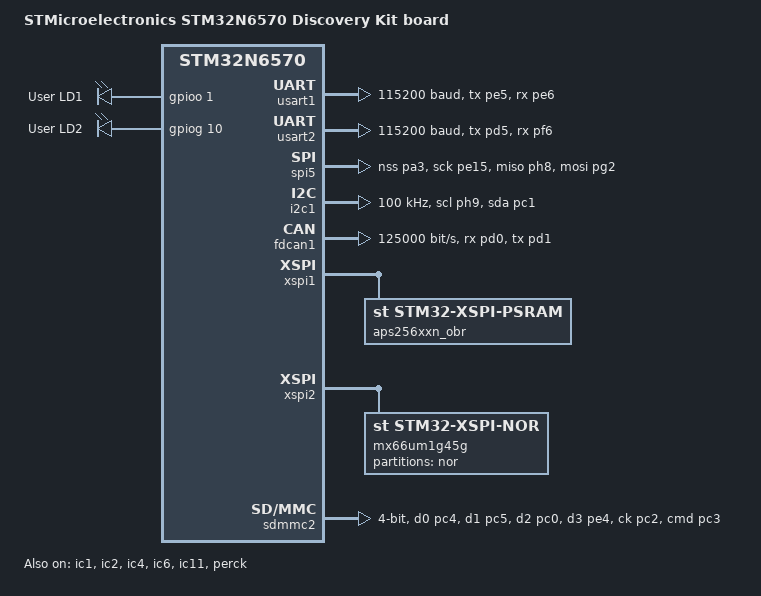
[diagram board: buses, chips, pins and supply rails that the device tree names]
/*
 * Copyright (c) 2024 STMicroelectronics
 *
 * SPDX-License-Identifier: Apache-2.0
 */

#include "arduino_r3_connector.dtsi"
#include <zephyr/dt-bindings/input/input-event-codes.h>
#include <zephyr/dt-bindings/flash_controller/xspi.h>

/ {
	model = "STMicroelectronics STM32N6570 Discovery Kit board";
	compatible = "st,stm32n6570-dk";

	#address-cells = <1>;
	#size-cells = <1>;

	chosen {
		zephyr,console = &usart1;
		zephyr,shell-uart = &usart1;
		zephyr,sram = &axisram2;
		zephyr,canbus = &fdcan1;
	};

	aliases {
		led0 = &green_led_1;
		ext-ram0 = &aps256xxn_obr;
		spi-flash0 = &mx66um1g45g;
	};

	leds: leds {
		compatible = "gpio-leds";
		green_led_1: led_1 {
			gpios = <&gpioo 1 GPIO_ACTIVE_HIGH>;
			label = "User LD1";
		};
		red_led_1: led_2 {
			gpios = <&gpiog 10 GPIO_ACTIVE_HIGH>;
			label = "User LD2";
		};
	};

};

&clk_hsi {
	hsi-div = <1>;
	status = "okay";
};

&pll1 {
	clocks = <&clk_hsi>;
	div-m = <4>;
	mul-n = <75>;
	div-p1 = <1>;
	div-p2 = <1>;
	status = "okay";
};

&pll2 {
	clocks = <&clk_hsi>;
	div-m = <4>;
	mul-n = <24>;
	div-p1 = <2>;
	div-p2 = <2>;
	status = "okay";
};

&ic1 {
	pll-src = <1>;
	ic-div = <2>;
	status = "okay";
};

&ic2 {
	pll-src = <1>;
	ic-div = <3>;
	status = "okay";
};

&ic4 {
	pll-src = <2>;
	ic-div = <2>;
	status = "okay";
};

&ic6 {
	pll-src = <1>;
	ic-div = <2>;
	status = "okay";
};

&ic11 {
	pll-src = <1>;
	ic-div = <3>;
	status = "okay";
};

&perck {
	clocks = <&rcc STM32_SRC_HSI PER_SEL(0)>;
	status = "okay";
};

&cpusw {
	clocks = <&rcc STM32_SRC_IC1 CPU_SEL(3)>;
	status = "okay";
};

&rcc {
	/* ic2, ic6 & ic11 must all be enabled to set ic2 as SYSCLK */
	clocks = <&ic2>;
	clock-frequency = <DT_FREQ_M(400)>;
	ahb-prescaler = <2>;
	apb1-prescaler = <1>;
	apb2-prescaler = <1>;
	apb4-prescaler = <1>;
	apb5-prescaler = <1>;
};

&usart1 {
	clocks = <&rcc STM32_CLOCK_BUS_APB2 0x00000010>,
		 <&rcc STM32_SRC_CKPER USART1_SEL(1)>;
	pinctrl-0 = <&usart1_tx_pe5 &usart1_rx_pe6>;
	pinctrl-names = "default";
	current-speed = <115200>;
	status = "okay";
};

&usart2 {
	clocks = <&rcc STM32_CLOCK_BUS_APB1 0x00020000>,
		 <&rcc STM32_SRC_CKPER USART2_SEL(1)>;
	pinctrl-0 = <&usart2_tx_pd5 &usart2_rx_pf6>;
	pinctrl-names = "default";
	current-speed = <115200>;
	status = "okay";
};

&spi5 {
	clocks = <&rcc STM32_CLOCK_BUS_APB2 0x00100000>,
		 <&rcc STM32_SRC_CKPER SPI5_SEL(1)>;
	pinctrl-0 = <&spi5_nss_pa3 &spi5_sck_pe15 &spi5_miso_ph8 &spi5_mosi_pg2>;
	pinctrl-names = "default";
	status = "okay";
};

&i2c1 {
	clocks = <&rcc STM32_CLOCK_BUS_APB1 0x00200000>,
		 <&rcc STM32_SRC_CKPER I2C1_SEL(1)>;
	pinctrl-0 = <&i2c1_scl_ph9 &i2c1_sda_pc1>;
	pinctrl-names = "default";
	clock-frequency = <I2C_BITRATE_STANDARD>;
	status = "okay";
};

&fdcan1 {
	clocks = <&rcc STM32_CLOCK_BUS_APB1_2 0x00000100>,
		 <&rcc STM32_SRC_CKPER FDCAN_SEL(1)>;
	pinctrl-0 = <&fdcan1_rx_pd0 &fdcan1_tx_pd1>;
	pinctrl-names = "default";
	bus-speed = <125000>;
	bus-speed-data = <1000000>;
	status = "okay";
};

&xspi1 {
	clocks = <&rcc STM32_CLOCK_BUS_AHB5 0x00000020>,
		 <&rcc STM32_SRC_CKPER XSPI1_SEL(1)>,
		 <&rcc STM32_CLOCK_BUS_AHB5 0x00002000>;
	pinctrl-0 = <&xspim_p1_ncs1_po0 &xspim_p1_dqs0_po2
		     &xspim_p1_dqs1_po3 &xspim_p1_clk_po4
		     &xspim_p1_io0_pp0 &xspim_p1_io1_pp1 &xspim_p1_io2_pp2
		     &xspim_p1_io3_pp3 &xspim_p1_io4_pp4 &xspim_p1_io5_pp5
		     &xspim_p1_io6_pp6 &xspim_p1_io7_pp7 &xspim_p1_io8_pp8
		     &xspim_p1_io9_pp9 &xspim_p1_io10_pp10 &xspim_p1_io11_pp11
		     &xspim_p1_io12_pp12 &xspim_p1_io13_pp13 &xspim_p1_io14_pp14
		     &xspim_p1_io15_pp15>;
	pinctrl-names = "default";
	status = "okay";

	aps256xxn_obr: psram@90000000 {
		compatible = "st,stm32-xspi-psram", "zephyr,memory-region";
		reg = <0x90000000 DT_SIZE_M(32)>; /* 256 Mbits */
		zephyr,memory-region = "SRAM1";
		fixed-latency;
		io-x16-mode;
		read-latency = <1>;
		rbx;
		burst-length = <3>;
		status = "okay";
	};
};

&xspi2 {
	clocks = <&rcc STM32_CLOCK_BUS_AHB5 0x00001000>,
		 <&rcc STM32_SRC_CKPER XSPI2_SEL(1)>,
		 <&rcc STM32_CLOCK_BUS_AHB5 0x00002000>;
	pinctrl-0 = <&xspim_p2_ncs1_pn1 &xspim_p2_dqs0_pn0 &xspim_p2_clk_pn6
		     &xspim_p2_io0_pn2 &xspim_p2_io1_pn3 &xspim_p2_io2_pn4
		     &xspim_p2_io3_pn5 &xspim_p2_io4_pn8 &xspim_p2_io5_pn9
		     &xspim_p2_io6_pn10 &xspim_p2_io7_pn11>;
	pinctrl-names = "default";
	status = "okay";

	mx66um1g45g: ospi-nor-flash@70000000 {
		compatible = "st,stm32-xspi-nor";
		reg = <0x70000000 DT_SIZE_M(128)>; /* 512 Mbits */
		ospi-max-frequency = <DT_FREQ_M(50)>;
		spi-bus-width = <XSPI_OCTO_MODE>;
		data-rate = <XSPI_DTR_TRANSFER>;
		four-byte-opcodes;
		status = "okay";

		partitions {
			   compatible = "fixed-partitions";
			   #address-cells = <1>;
			   #size-cells = <1>;
			   partition@0 {
			       label = "nor";
			       reg = <0x00000000 DT_SIZE_M(128)>;
			   };
		};
	};
};

&sdmmc2 {
	status = "okay";
	clocks = <&rcc STM32_CLOCK_BUS_AHB5 0x00000080>,
		 <&rcc STM32_SRC_IC4 SDMMC1_SEL(2)>;
	pinctrl-0 = <&sdmmc2_d0_pc4 &sdmmc2_d1_pc5
			&sdmmc2_d2_pc0 &sdmmc2_d3_pe4
			&sdmmc2_ck_pc2 &sdmmc2_cmd_pc3>;
	pinctrl-names = "default";
	bus-width = <4>;
	cd-gpios = <&gpion 8 GPIO_ACTIVE_HIGH>;
	pwr-gpios = <&gpioq 7 GPIO_ACTIVE_HIGH>;
};
